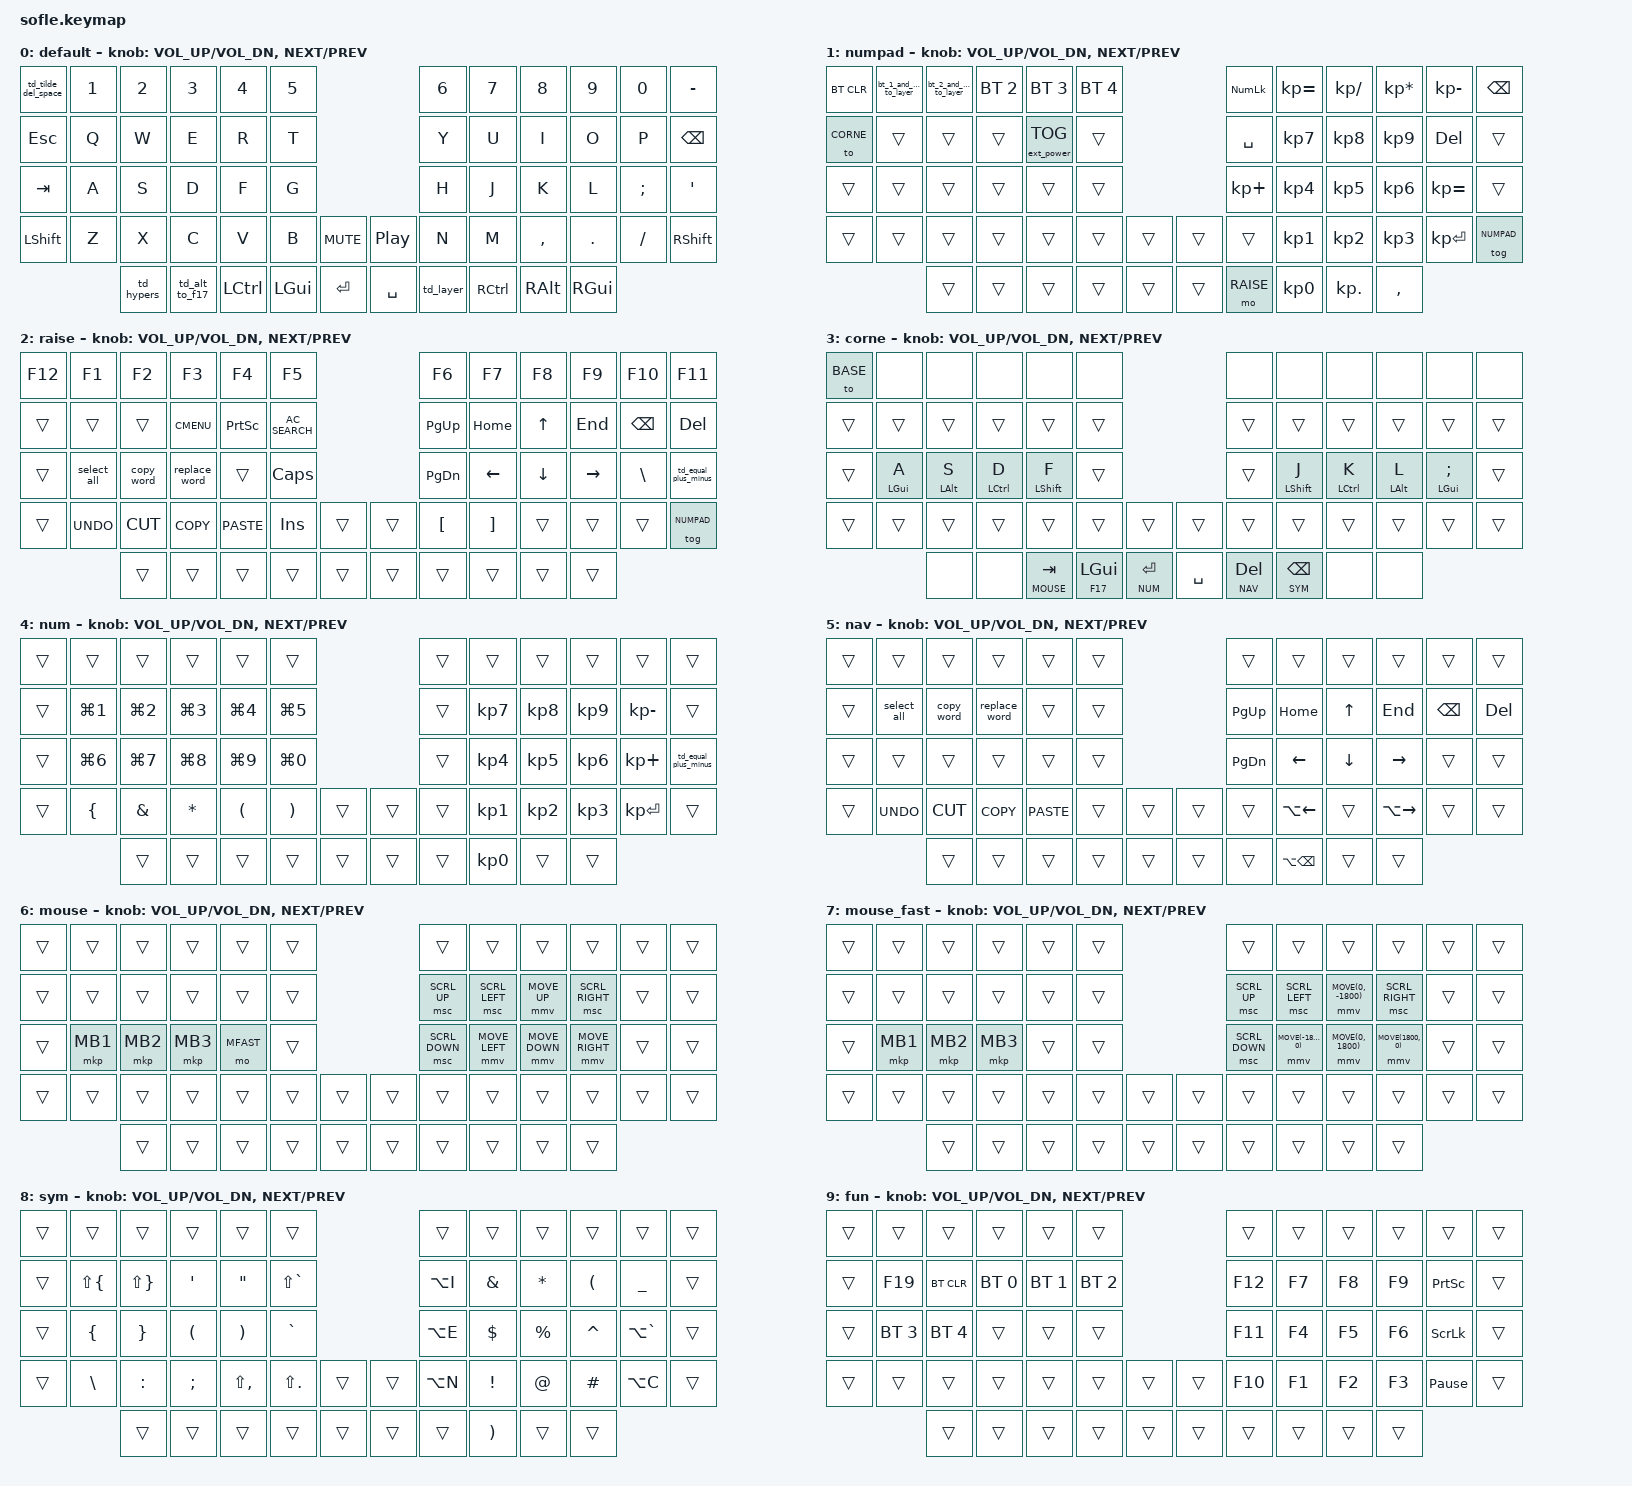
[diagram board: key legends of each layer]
/*
 * Copyright (c) 2020 The ZMK Contributors
 *
 * SPDX-License-Identifier: MIT
 */

#include <behaviors.dtsi>
#include <behaviors/mouse_keys.dtsi>
#include <dt-bindings/zmk/bt.h>
#include <dt-bindings/zmk/ext_power.h>
#include <dt-bindings/zmk/keys.h>
#include <dt-bindings/zmk/pointing.h>

#define BASE 0
#define NUMPAD 1
#define RAISE 2
#define CORNE 3
#define NUM 4
#define NAV 5
#define MOUSE 6
#define MFAST 7
#define SYM 8
#define FUN 9

/ {
    behaviors {
        td_layer: td_layer {
            compatible = "zmk,behavior-tap-dance";
            label = "TD_LAYER";
            #binding-cells = <0>;
            bindings = <&mo RAISE>, <&mo NUMPAD>, <&tog NUMPAD>;
        };

        td_hypers: td_hypers {
            compatible = "zmk,behavior-tap-dance";
            label = "TD_HYPERS";
            #binding-cells = <0>;
            bindings = <&kp LG(LEFT_ALT)>, <&kp LC(LS(LA(LEFT_GUI)))>;
        };

        td_equal_plus_minus: td_equal_plus_minus {
            compatible = "zmk,behavior-tap-dance";
            label = "TD_EQUAL_PLUS_MINUS";
            #binding-cells = <0>;
            bindings = <&kp KP_EQUAL>, <&kp KP_PLUS>, <&kp KP_MINUS>;
        };

        td_alt_to_f17: td_alt_to_f17 {
            compatible = "zmk,behavior-tap-dance";
            label = "TD_ALT_TO_F17";
            #binding-cells = <0>;
            bindings = <&kp LEFT_ALT>, <&kp F17>;
        };

        td_tilde_del_space: td_tilde_del_space {
            compatible = "zmk,behavior-tap-dance";
            label = "TD_TILDE_DEL_SPACE";
            #binding-cells = <0>;
            bindings = <&kp LS(GRAVE)>, <&kp GRAVE>, <&kp DELETE>, <&kp SPACE>;
        };

        td_del_space: td_del_space {
            compatible = "zmk,behavior-tap-dance";
            label = "TD_DEL_SPACE";
            #binding-cells = <0>;
            bindings = <&kp DELETE>, <&kp SPACE>;
        };

        ltc: ltc {
            compatible = "zmk,behavior-hold-tap";
            label = "LTC";
            #binding-cells = <2>;
            flavor = "hold-preferred";
            tapping-term-ms = <200>;
            quick-tap-ms = <200>;
            bindings = <&mo>, <&kp>;
        };

        ltc_en: ltc_en {
            compatible = "zmk,behavior-hold-tap";
            label = "LTC_EN";
            #binding-cells = <2>;
            flavor = "hold-preferred";
            tapping-term-ms = <150>;
            bindings = <&mo>, <&kp>;
        };

        ht_cmd: ht_cmd {
            compatible = "zmk,behavior-hold-tap";
            label = "HT_CMD";
            #binding-cells = <2>;
            flavor = "tap-preferred";
            tapping-term-ms = <150>;
            hold-while-undecided;
            bindings = <&kp>, <&sk>;
        };

        ht_kp: ht_kp {
            compatible = "zmk,behavior-hold-tap";
            label = "HT_KP";
            #binding-cells = <2>;
            flavor = "hold-preferred";
            tapping-term-ms = <200>;
            bindings = <&kp>, <&kp>;
        };

        hml: hml {
            compatible = "zmk,behavior-hold-tap";
            label = "HML";
            #binding-cells = <2>;
            flavor = "balanced";
            tapping-term-ms = <280>;
            require-prior-idle-ms = <150>;
            bindings = <&kp>, <&kp>;
            hold-trigger-key-positions = <6 7 8 9 10 11 18 19 20 21 22 23 30 31 32 33 34 35 43 44 45 46 47 48 49 55 56 57 58 59>;
            hold-trigger-on-release;
        };

        hmr: hmr {
            compatible = "zmk,behavior-hold-tap";
            label = "HMR";
            #binding-cells = <2>;
            flavor = "balanced";
            tapping-term-ms = <280>;
            require-prior-idle-ms = <150>;
            bindings = <&kp>, <&kp>;
            hold-trigger-key-positions = <0 1 2 3 4 5 12 13 14 15 16 17 24 25 26 27 28 29 36 37 38 39 40 41 42 50 51 52 53 54>;
            hold-trigger-on-release;
        };
    };

    macros {
        select_all: select_all {
            compatible = "zmk,behavior-macro";
            #binding-cells = <0>;
            bindings = <&kp LG(A)>;
            label = "SELECT_ALL";
        };

        copy_word: copy_word {
            compatible = "zmk,behavior-macro";
            #binding-cells = <0>;
            bindings = <&kp LG(LEFT) &kp LG(LS(RIGHT)) &kp LG(C)>;
            label = "COPY_WORD";
        };

        replace_word: replace_word {
            compatible = "zmk,behavior-macro";
            #binding-cells = <0>;
            bindings = <&kp LG(LEFT) &kp LG(LS(RIGHT)) &kp LG(V)>;
            label = "REPLACE_WORD";
        };

        bt_1_and_back_to_layer: bt_1_and_back_to_layer {
            compatible = "zmk,behavior-macro";
            #binding-cells = <0>;
            bindings = <&kp F13 &bt BT_SEL 0 &tog NUMPAD>;
            label = "BT_1_AND_BACK_TO_LAYER";
        };

        bt_2_and_back_to_layer: bt_2_and_back_to_layer {
            compatible = "zmk,behavior-macro";
            #binding-cells = <0>;
            bindings = <&kp F13 &bt BT_SEL 1 &tog NUMPAD>;
            label = "BT_2_AND_BACK_TO_LAYER";
        };
    };

    combos {
        compatible = "zmk,combos";

        db_del_space {
            bindings = <&td_del_space>;
            key-positions = <0 1>;
        };

        studio_unlock {
            bindings = <&studio_unlock>;
            key-positions = <42 43>;
            timeout-ms = <60>;
        };

        combo_esc {
            bindings = <&kp ESC>;
            key-positions = <13 14>;
            timeout-ms = <30>;
            layers = <CORNE>;
            require-prior-idle-ms = <100>;
        };

        combo_close_tab {
            bindings = <&kp LG(W)>;
            key-positions = <14 15>;
            timeout-ms = <30>;
            layers = <CORNE>;
            require-prior-idle-ms = <100>;
        };

        combo_reload {
            bindings = <&kp LG(R)>;
            key-positions = <16 28>;
            timeout-ms = <30>;
            layers = <CORNE>;
            require-prior-idle-ms = <100>;
        };

        combo_select_all {
            bindings = <&kp LG(A)>;
            key-positions = <25 26>;
            timeout-ms = <30>;
            layers = <CORNE>;
            require-prior-idle-ms = <100>;
        };

        combo_save {
            bindings = <&kp LG(S)>;
            key-positions = <26 27>;
            timeout-ms = <30>;
            layers = <CORNE>;
            require-prior-idle-ms = <100>;
        };

        combo_find_files {
            bindings = <&kp LG(LS(F))>;
            key-positions = <27 28>;
            timeout-ms = <30>;
            layers = <CORNE>;
            require-prior-idle-ms = <100>;
        };

        combo_find {
            bindings = <&kp LG(F)>;
            key-positions = <28 29>;
            timeout-ms = <30>;
            layers = <CORNE>;
            require-prior-idle-ms = <100>;
        };

        combo_sticky_sym {
            bindings = <&sl SYM>;
            key-positions = <37 25>;
            timeout-ms = <30>;
            layers = <CORNE>;
        };

        combo_undo {
            bindings = <&kp LG(Z)>;
            key-positions = <37 38>;
            timeout-ms = <30>;
            layers = <CORNE>;
            require-prior-idle-ms = <100>;
        };

        combo_cut {
            bindings = <&kp LG(X)>;
            key-positions = <38 39>;
            timeout-ms = <30>;
            layers = <CORNE>;
            require-prior-idle-ms = <100>;
        };

        combo_copy {
            bindings = <&kp LG(C)>;
            key-positions = <39 40>;
            timeout-ms = <30>;
            layers = <CORNE>;
            require-prior-idle-ms = <100>;
        };

        combo_paste {
            bindings = <&kp LG(V)>;
            key-positions = <40 41>;
            timeout-ms = <30>;
            layers = <CORNE>;
            require-prior-idle-ms = <100>;
        };

        combo_next_tab {
            bindings = <&kp LC(TAB)>;
            key-positions = <16 17>;
            timeout-ms = <30>;
            layers = <CORNE>;
            require-prior-idle-ms = <100>;
        };

        combo_prev_tab {
            bindings = <&kp LC(LS(TAB))>;
            key-positions = <15 16>;
            timeout-ms = <30>;
            layers = <CORNE>;
            require-prior-idle-ms = <100>;
        };

        combo_fun_layer {
            bindings = <&mo FUN>;
            key-positions = <29 30>;
            timeout-ms = <50>;
            layers = <CORNE>;
            require-prior-idle-ms = <100>;
        };
    };

    keymap {
        compatible = "zmk,keymap";

        base {
            display-name = "default";

            // ------------------------------------------------------------------------------------------------------------
            // |   `   |  1  |  2  |  3   |  4   |  5   |                   |  6   |  7    |  8    |  9   |   0   |       |
            // |  ESC  |  Q  |  W  |  E   |  R   |  T   |                   |  Y   |  U    |  I    |  O   |   P   | BKSPC |
            // |  TAB  |  A  |  S  |  D   |  F   |  G   |                   |  H   |  J    |  K    |  L   |   ;   |   '   |
            // | SHIFT |  Z  |  X  |  C   |  V   |  B   |  MUTE  |  |       |  N   |  M    |  ,    |  .   |   /   | SHIFT |
            //               | GUI | ALT  | CTRL | LOWER|  ENTER |  | SPACE | RAISE| CTRL  | ALT   | GUI  |

            bindings = <
&td_tilde_del_space  &kp N1  &kp N2      &kp N3          &kp N4     &kp N5                                                      &kp N6     &kp N7     &kp N8     &kp N9    &kp N0    &kp MINUS
&kp ESC              &kp Q   &kp W       &kp E           &kp R      &kp T                                                       &kp Y      &kp U      &kp I      &kp O     &kp P     &kp BSPC
&kp TAB              &kp A   &kp S       &kp D           &kp F      &kp G                                                       &kp H      &kp J      &kp K      &kp L     &kp SEMI  &kp SQT
&kp LSHFT            &kp Z   &kp X       &kp C           &kp V      &kp B         &kp C_MUTE        &kp C_PP                   &kp N      &kp M      &kp COMMA  &kp DOT   &kp FSLH  &kp RSHFT
                             &td_hypers  &td_alt_to_f17  &kp LCTRL  &kp LEFT_GUI  &kp RET             &kp SPACE                 &td_layer  &kp RCTRL  &kp RALT   &kp RGUI
            >;

            sensor-bindings =
                <&inc_dec_kp C_VOL_UP C_VOL_DN>,
                <&inc_dec_kp C_NEXT C_PREV>;

            label = "base";
        };

        numpad {
            display-name = "numpad";

            // ------------------------------------------------------------------------------------------------------------
            // | BTCLR | BT1  | BT2  |  BT3  |  BT4  |  BT5 |                |      |      |       |      |       |       |
            // |       | INS  | PSCR | GUI   |       |      |                | PGUP |      |   ^   |      |       |       |
            // |       | ALT  | CTRL | SHIFT |       | CAPS |                | PGDN |   <- |   v   |  ->  |  DEL  | BKSPC |
            // |       | UNDO | CUT  | COPY  | PASTE |      |      |  |      |      |      |       |      |       |       |
            //                |      |       |       |      |      |  |      |      |      |       |      |

            bindings = <
&bt BT_CLR  &bt_1_and_back_to_layer  &bt_2_and_back_to_layer  &bt BT_SEL 2  &bt BT_SEL 3       &bt BT_SEL 4                    &kp KP_NUMLOCK  &kp KP_EQUAL  &kp KP_DIVIDE  &kp KP_MULTIPLY  &kp KP_MINUS  &kp BSPC
&to CORNE       &trans                   &trans                   &trans        &ext_power EP_TOG  &trans                          &kp SPACE       &kp KP_N7     &kp KP_N8      &kp KP_N9        &kp DEL       &trans
&trans      &trans                   &trans                   &trans        &trans             &trans                          &kp KP_PLUS     &kp KP_N4     &kp KP_N5      &kp KP_N6        &kp KP_EQUAL  &trans
&trans      &trans                   &trans                   &trans        &trans             &trans        &trans    &trans  &trans          &kp KP_N1     &kp KP_N2      &kp KP_N3        &kp KP_ENTER  &tog NUMPAD
                                     &trans                   &trans        &trans             &trans        &trans    &trans  &mo RAISE           &kp KP_N0     &kp KP_DOT     &kp COMMA
            >;

            sensor-bindings =
                <&inc_dec_kp C_VOL_UP C_VOL_DN>,
                <&inc_dec_kp C_NEXT C_PREV>;

            label = "numpad";
        };

        raise {
            display-name = "raise";
            bindings = <
&kp F12  &kp F1       &kp F2      &kp F3         &kp F4           &kp F5                             &kp F6            &kp F7             &kp F8    &kp F9     &kp F10        &kp F11
&trans   &trans       &trans      &kp K_CMENU    &kp PRINTSCREEN  &kp C_AC_SEARCH                    &kp PG_UP         &kp HOME           &kp UP    &kp END    &kp BACKSPACE  &kp DELETE
&trans   &select_all  &copy_word  &replace_word  &trans           &kp CLCK                           &kp PG_DN         &kp LEFT           &kp DOWN  &kp RIGHT  &kp BACKSLASH  &td_equal_plus_minus
&trans   &kp K_UNDO   &kp K_CUT   &kp K_COPY     &kp K_PASTE      &kp INSERT       &trans    &trans  &kp LEFT_BRACKET  &kp RIGHT_BRACKET  &trans    &trans     &trans         &tog NUMPAD
                      &trans      &trans         &trans           &trans           &trans    &trans  &trans            &trans             &trans    &trans
            >;

            sensor-bindings =
                <&inc_dec_kp C_VOL_UP C_VOL_DN>,
                <&inc_dec_kp C_NEXT C_PREV>;

            label = "raise";
        };

        corne {
            display-name = "corne";

            bindings = <
&to BASE  &none  &none  &none  &none  &none  &none  &none  &none  &none  &none  &none
&trans  &trans  &trans  &trans  &trans  &trans  &trans  &trans  &trans  &trans  &trans  &trans
&trans  &hml LGUI A  &hml LALT S  &hml LCTRL D  &hml LSHFT F  &trans  &trans  &hmr LSHFT J  &hmr LCTRL K  &hmr LALT L  &hmr LGUI SEMI  &trans
&trans  &trans  &trans  &trans  &trans  &trans  &trans  &trans  &trans  &trans  &trans  &trans  &trans  &trans
&none  &none  &ltc MOUSE TAB  &ht_cmd F17 LGUI  &ltc_en NUM ENTER  &kp SPACE  &ltc NAV DEL  &ltc SYM BKSP  &none  &none
            >;

            sensor-bindings =
                <&inc_dec_kp C_VOL_UP C_VOL_DN>,
                <&inc_dec_kp C_NEXT C_PREV>;

            label = "corne";
        };

        num {
            display-name = "num";

            bindings = <
&trans  &trans  &trans  &trans  &trans  &trans  &trans  &trans  &trans  &trans  &trans  &trans
&trans  &kp LG(N1)  &kp LG(N2)  &kp LG(N3)  &kp LG(N4)  &kp LG(N5)  &trans  &kp KP_N7  &kp KP_N8  &kp KP_N9  &kp KP_MINUS  &trans
&trans  &kp LG(N6)  &kp LG(N7)  &kp LG(N8)  &kp LG(N9)  &kp LG(N0)  &trans  &kp KP_N4  &kp KP_N5  &kp KP_N6  &kp KP_PLUS  &td_equal_plus_minus
&trans  &kp LBRC  &kp AMPS  &kp ASTRK  &kp LPAR  &kp RPAR  &trans  &trans  &trans  &kp KP_N1  &kp KP_N2  &kp KP_N3  &kp KP_ENTER  &trans
&trans  &trans  &trans  &trans  &trans  &trans  &trans  &kp KP_N0  &trans  &trans
            >;

            sensor-bindings =
                <&inc_dec_kp C_VOL_UP C_VOL_DN>,
                <&inc_dec_kp C_NEXT C_PREV>;

            label = "num";
        };

        nav {
            display-name = "nav";

            bindings = <
&trans  &trans  &trans  &trans  &trans  &trans  &trans  &trans  &trans  &trans  &trans  &trans
&trans  &select_all  &copy_word  &replace_word  &trans  &trans  &kp PG_UP  &kp HOME  &kp UP  &kp END  &kp BACKSPACE  &kp DELETE
&trans  &trans  &trans  &trans  &trans  &trans  &kp PG_DN  &kp LEFT  &kp DOWN  &kp RIGHT  &trans  &trans
&trans  &kp K_UNDO  &kp K_CUT  &kp K_COPY  &kp K_PASTE  &trans  &trans  &trans  &trans  &kp LA(LEFT)  &trans  &kp LA(RIGHT)  &trans  &trans
&trans  &trans  &trans  &trans  &trans  &trans  &trans  &kp LA(BSPC)  &trans  &trans
            >;

            sensor-bindings =
                <&inc_dec_kp C_VOL_UP C_VOL_DN>,
                <&inc_dec_kp C_NEXT C_PREV>;

            label = "nav";
        };

        mouse {
            display-name = "mouse";

            bindings = <
&trans  &trans  &trans  &trans  &trans  &trans  &trans  &trans  &trans  &trans  &trans  &trans
&trans  &trans  &trans  &trans  &trans  &trans  &msc SCRL_UP  &msc SCRL_LEFT  &mmv MOVE_UP  &msc SCRL_RIGHT  &trans  &trans
&trans  &mkp MB1  &mkp MB2  &mkp MB3  &mo MFAST  &trans  &msc SCRL_DOWN  &mmv MOVE_LEFT  &mmv MOVE_DOWN  &mmv MOVE_RIGHT  &trans  &trans
&trans  &trans  &trans  &trans  &trans  &trans  &trans  &trans  &trans  &trans  &trans  &trans  &trans  &trans
&trans  &trans  &trans  &trans  &trans  &trans  &trans  &trans  &trans  &trans
            >;

            sensor-bindings =
                <&inc_dec_kp C_VOL_UP C_VOL_DN>,
                <&inc_dec_kp C_NEXT C_PREV>;

            label = "mouse";
        };

        mouse_fast {
            display-name = "mouse_fast";

            bindings = <
&trans  &trans  &trans  &trans  &trans  &trans  &trans  &trans  &trans  &trans  &trans  &trans
&trans  &trans  &trans  &trans  &trans  &trans  &msc SCRL_UP  &msc SCRL_LEFT  &mmv MOVE(0, -1800)  &msc SCRL_RIGHT  &trans  &trans
&trans  &mkp MB1  &mkp MB2  &mkp MB3  &trans  &trans  &msc SCRL_DOWN  &mmv MOVE(-1800, 0)  &mmv MOVE(0, 1800)  &mmv MOVE(1800, 0)  &trans  &trans
&trans  &trans  &trans  &trans  &trans  &trans  &trans  &trans  &trans  &trans  &trans  &trans  &trans  &trans
&trans  &trans  &trans  &trans  &trans  &trans  &trans  &trans  &trans  &trans
            >;

            sensor-bindings =
                <&inc_dec_kp C_VOL_UP C_VOL_DN>,
                <&inc_dec_kp C_NEXT C_PREV>;

            label = "mouse_fast";
        };

        sym {
            display-name = "sym";

            bindings = <
&trans  &trans  &trans  &trans  &trans  &trans  &trans  &trans  &trans  &trans  &trans  &trans
&trans  &kp LS(LBRC)  &kp LS(RBRC)  &kp SQT  &kp DQT  &kp LS(GRAVE)  &kp LA(I)  &kp AMPS  &kp ASTRK  &kp LPAR  &kp UNDER  &trans
&trans  &kp LBRC  &kp RBRC  &kp LPAR  &kp RPAR  &kp GRAVE  &kp LA(E)  &kp DLLR  &kp PRCNT  &kp CARET  &kp LA(GRAVE)  &trans
&trans  &kp BACKSLASH  &kp COLON  &kp SEMI  &kp LS(COMMA)  &kp LS(DOT)  &trans  &trans  &kp LA(N)  &kp EXCL  &kp AT  &kp HASH  &kp LA(C)  &trans
&trans  &trans  &trans  &trans  &trans  &trans  &trans  &kp RPAR  &trans  &trans
            >;

            sensor-bindings =
                <&inc_dec_kp C_VOL_UP C_VOL_DN>,
                <&inc_dec_kp C_NEXT C_PREV>;

            label = "sym";
        };

        fun {
            display-name = "fun";

            bindings = <
&trans  &trans  &trans  &trans  &trans  &trans  &trans  &trans  &trans  &trans  &trans  &trans
&trans  &kp F19  &bt BT_CLR  &bt BT_SEL 0  &bt BT_SEL 1  &bt BT_SEL 2  &kp F12  &kp F7  &kp F8  &kp F9  &kp PSCRN  &trans
&trans  &bt BT_SEL 3  &bt BT_SEL 4  &trans  &trans  &trans  &kp F11  &kp F4  &kp F5  &kp F6  &kp SLCK  &trans
&trans  &trans  &trans  &trans  &trans  &trans  &trans  &trans  &kp F10  &kp F1  &kp F2  &kp F3  &kp PAUSE_BREAK  &trans
&trans  &trans  &trans  &trans  &trans  &trans  &trans  &trans  &trans  &trans
            >;

            sensor-bindings =
                <&inc_dec_kp C_VOL_UP C_VOL_DN>,
                <&inc_dec_kp C_NEXT C_PREV>;

            label = "fun";
        };
    };
};
